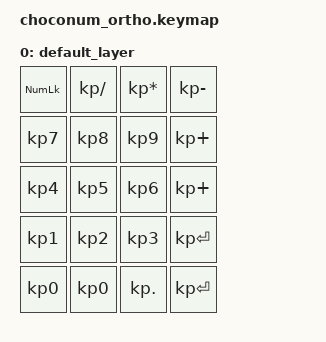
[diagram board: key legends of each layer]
/*
 * Copyright (c) 2020 The ZMK Contributors
 *
 * SPDX-License-Identifier: MIT
 */

#include <behaviors.dtsi>
#include <dt-bindings/zmk/keys.h>


/ {
	keymap {
		compatible = "zmk,keymap";

		default_layer {
			bindings = <
&kp KP_NUMLOCK &kp KP_DIVIDE &kp KP_MULTIPLY &kp KP_MINUS
&kp KP_N7      &kp KP_N8     &kp KP_N9       &kp KP_PLUS
&kp KP_N4      &kp KP_N5     &kp KP_N6       &kp KP_PLUS
&kp KP_N1      &kp KP_N2     &kp KP_N3       &kp KP_ENTER
&kp KP_N0      &kp KP_N0     &kp KP_DOT      &kp KP_ENTER
			>;
		};
	};
};

